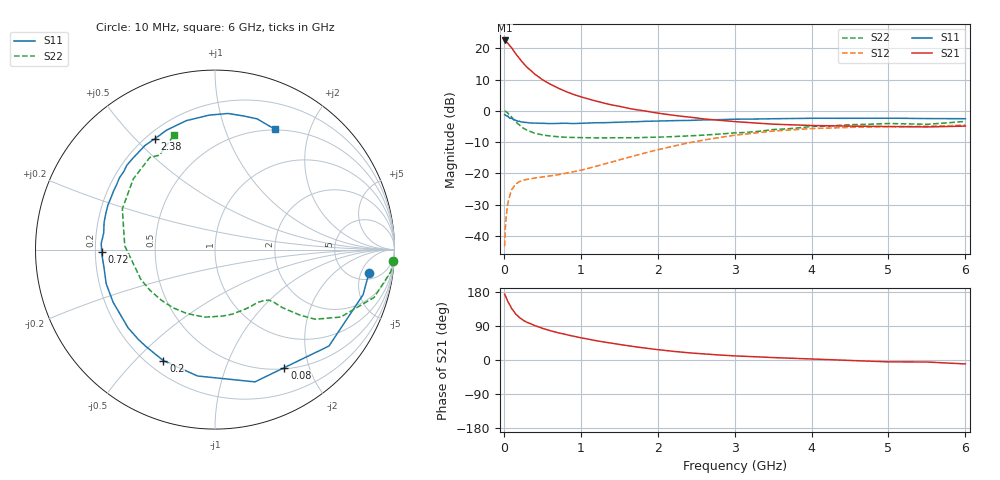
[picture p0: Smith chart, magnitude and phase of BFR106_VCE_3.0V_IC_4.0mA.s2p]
! Infineon Technologies  Discrete & RF Semiconductors
! BFR106
! VCE =  3.0 V,  IC =  4.0 mA
! Common Emitter S-Parameters:  Nov 2015
# GHz  S  MA  R  50
!  f  S11  S21  S12  S22
! GHz  MAG  ANG  MAG  ANG  MAG  ANG  MAG  ANG
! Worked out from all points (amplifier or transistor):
!   210 points, 10 MHz to 6 GHz, reference 50 ohm
!   highest |S21| = 22.5 dB at 10 MHz (marker M1)
!   |S21| within 3 dB of that: start of sweep to 119.1 MHz
!   unconditionally stable (mu >= 1): 658.2 MHz to 2.05 GHz; 4.286 GHz to end of sweep
!   at 185 MHz: K = 0.34, MSG = 20.1 dB, |S12| = -22.9 dB
!   at 1.52 GHz: K = 1.15, MAG = 6.1 dB, |S12| = -15.5 dB
!   at 6 GHz: K = 1.02, MAG = -1.1 dB, |S12| = -4.6 dB
!   S11 on the Smith chart (normalised r, x): 10 MHz: 6.76, -7.02; 80 MHz: 0.52, -1.63; 200 MHz: 0.26, -0.61; 720 MHz: 0.23, -0.01; 2.38 GHz: 0.23, +0.57; 6 GHz: 0.49, +1.51
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0.01  0.8678 -8.5  13.32 174.0  0.0069 86.5  0.9943 -3.6
0.02  0.8626 -16.9  13.13 169.7  0.0136 80.1  0.9872 -7.2
0.05  0.8318 -40.2  12.15 154.7  0.0326 69.1  0.9258 -16.7
0.08  0.7628 -59.5  10.87 144.4  0.0455 58.9  0.8433 -23.2
0.1  0.7698 -73.2  10.24 136.2  0.0546 54.9  0.7953 -28.2
0.15  0.7109 -97.8  8.295 121.8  0.0668 44.9  0.6777 -34.9
0.2  0.6825 -114.9  6.91 112.5  0.0739 39.8  0.5955 -37.7
0.26  0.6581 -130.3  5.641 103.8  0.0784 36.0  0.5231 -39.8
0.3  0.6514 -138.1  4.981 99.4  0.0806 34.8  0.4921 -40.8
0.4  0.6389 -152.7  3.877 90.8  0.0845 34.2  0.4399 -41.8
0.5  0.6353 -162.7  3.155 83.6  0.0879 35.7  0.4123 -43.1
0.6  0.6263 -171.4  2.679 77.5  0.0914 38.2  0.3968 -45.3
0.72  0.6317 -179.0  2.271 71.3  0.0961 41.7  0.3846 -48.8
0.9  0.6268 171.5  1.838 62.9  0.106 47.2  0.3753 -53.9
1.02  0.6367 165.4  1.65 58.0  0.1141 50.6  0.3739 -58.5
1.4  0.6526 150.0  1.246 44.3  0.1516 58.9  0.3722 -74.5
2.02  0.6877 129.3  0.914 26.9  0.2424 59.8  0.3813 -105.0
2.38  0.7024 118.5  0.805 19.4  0.3051 55.9  0.3978 -124.8
3.1  0.737 100.5  0.662 10.0  0.4206 42.7  0.4498 -163.3
4.1  0.761 83.2  0.581 1.9  0.5257 22.6  0.5671 152.7
5.1  0.7625 71.2  0.56 -5.0  0.5608 6.6  0.6246 124.3
6  0.7496 63.3  0.571 -10.4  0.5918 -4.1  0.6792 109.5
